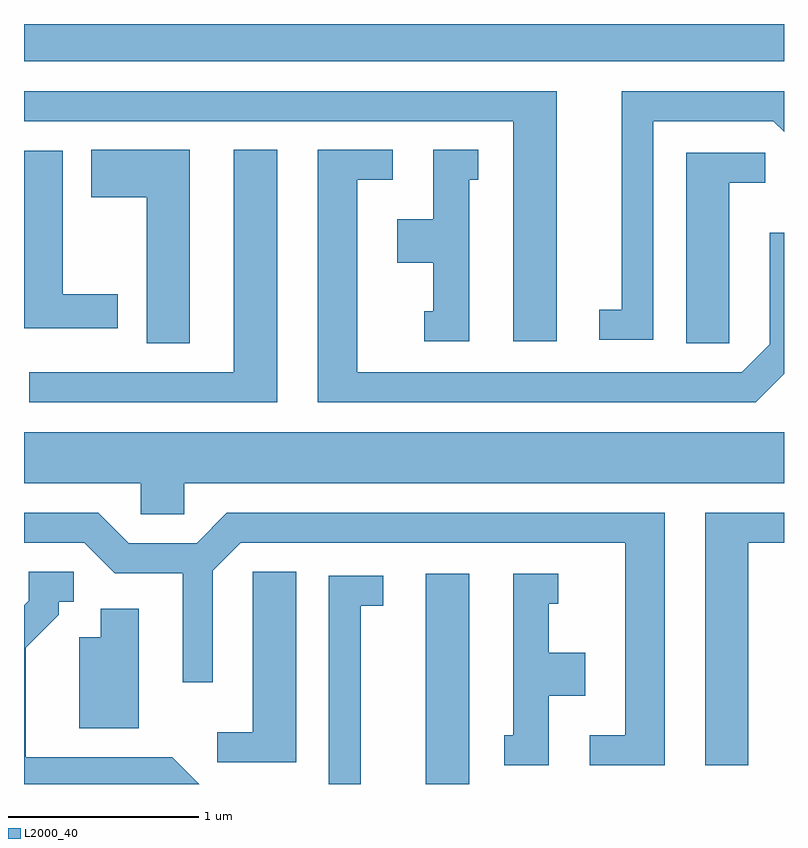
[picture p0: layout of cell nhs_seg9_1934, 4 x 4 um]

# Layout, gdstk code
import gdstk
lib = gdstk.Library(unit=1e-6, precision=1e-09)
def R(c, l, rs):  # rectangles x0, y0, x1, y1
    for r in rs: c.add(gdstk.rectangle(r[:2], r[2:], *l))
def P(c, l, *ps):  # polygons
    for p in ps: c.add(gdstk.Polygon(p, *l))
L2000_40 = (2000, 40)

nhs_seg9_1934 = lib.new_cell('nhs_seg9_1934')
R(nhs_seg9_1934, L2000_40, [(243.726,2012.432,243.954,2013.539), (241.611,2016.236,245.611,2016.432)])
P(nhs_seg9_1934, L2000_40, [(244.924,2015.921),(245.554,2015.921),(245.611,2015.864),(245.611,2016.079),(244.756,2016.079),(244.756,2014.929),(244.638,2014.929),(244.638,2014.771),(244.924,2014.771)],
  [(244.414,2016.079),(241.611,2016.079),(241.611,2015.921),(244.186,2015.921),(244.186,2014.761),(244.414,2014.761)],
  [(242.944,2015.769),(242.716,2015.769),(242.716,2014.599),(241.638,2014.599),(241.638,2014.441),(242.944,2014.441)],
  [(242.484,2015.769),(241.966,2015.769),(241.966,2015.521),(242.256,2015.521),(242.256,2014.751),(242.484,2014.751)],
  [(243.954,2015.611),(244.003,2015.611),(244.003,2015.769),(243.766,2015.769),(243.766,2015.404),(243.576,2015.404),(243.576,2015.176),(243.766,2015.176),(243.766,2014.919),(243.718,2014.919),(243.718,2014.761),(243.954,2014.761)],
  [(245.611,2014.59),(245.611,2015.333),(245.536,2015.333),(245.536,2014.747),(245.389,2014.599),(243.364,2014.599),(243.364,2015.611),(243.553,2015.611),(243.553,2015.769),(243.156,2015.769),(243.156,2014.441),(245.462,2014.441)],
  [(242.104,2015.009),(241.814,2015.009),(241.814,2015.764),(241.611,2015.764),(241.611,2014.831),(242.104,2014.831)],
  [(245.324,2015.596),(245.513,2015.596),(245.513,2015.754),(245.096,2015.754),(245.096,2014.751),(245.324,2014.751)],
  [(242.454,2014.016),(245.611,2014.016),(245.611,2014.284),(241.611,2014.284),(241.611,2014.016),(242.226,2014.016),(242.226,2013.851),(242.454,2013.851)],
  [(244.984,2013.859),(242.679,2013.859),(242.519,2013.699),(242.162,2013.699),(242.002,2013.859),(241.611,2013.859),(241.611,2013.701),(241.929,2013.701),(242.089,2013.541),(242.446,2013.541),(242.446,2012.968),(242.604,2012.968),(242.604,2013.554),(242.752,2013.701),(244.776,2013.701),(244.776,2012.689),(244.588,2012.689),(244.588,2012.531),(244.984,2012.531)],
  [(245.424,2013.701),(245.611,2013.701),(245.611,2013.859),(245.196,2013.859),(245.196,2012.531),(245.424,2012.531)],
  [(243.044,2013.549),(242.816,2013.549),(242.816,2012.704),(242.628,2012.704),(242.628,2012.546),(243.044,2012.546)],
  [(242.392,2012.574),(241.619,2012.574),(241.619,2013.149),(241.794,2013.324),(241.794,2013.391),(241.873,2013.391),(241.873,2013.549),(241.636,2013.549),(241.636,2013.397),(241.611,2013.372),(241.611,2012.432),(242.534,2012.432)],
  [(244.374,2012.896),(244.564,2012.896),(244.564,2013.124),(244.374,2013.124),(244.374,2013.381),(244.423,2013.381),(244.423,2013.539),(244.186,2013.539),(244.186,2012.689),(244.138,2012.689),(244.138,2012.531),(244.374,2012.531)],
  [(243.384,2013.371),(243.503,2013.371),(243.503,2013.529),(243.216,2013.529),(243.216,2012.432),(243.384,2012.432)],
  [(242.214,2013.354),(242.016,2013.354),(242.016,2013.204),(241.901,2013.204),(241.901,2012.726),(242.214,2012.726)])

lib.write_gds('nhs_seg9_1934.gds')
